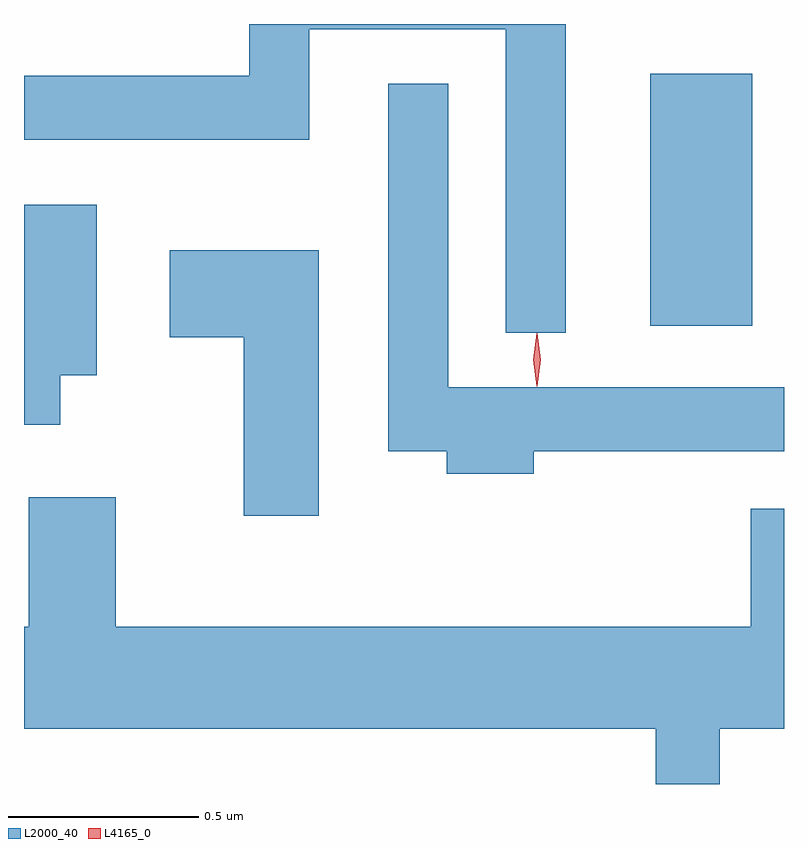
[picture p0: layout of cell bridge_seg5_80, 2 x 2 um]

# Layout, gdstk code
import gdstk
lib = gdstk.Library(unit=1e-6, precision=1e-09)
def R(c, l, rs):  # rectangles x0, y0, x1, y1
    for r in rs: c.add(gdstk.rectangle(r[:2], r[2:], *l))
def P(c, l, *ps):  # polygons
    for p in ps: c.add(gdstk.Polygon(p, *l))
L2000_40 = (2000, 40)
L4165_0 = (4165, 0)

bridge_seg5_80 = lib.new_cell('bridge_seg5_80')
R(bridge_seg5_80, L2000_40, [(1217.216,1477.836,1217.484,1478.499)])
P(bridge_seg5_80, L2000_40, [(1216.994,1478.63),(1216.161,1478.63),(1216.161,1478.494),(1215.568,1478.494),(1215.568,1478.326),(1216.319,1478.326),(1216.319,1478.616),(1216.836,1478.616),(1216.836,1477.818),(1216.994,1477.818)],
  [(1216.909,1477.506),(1217.568,1477.506),(1217.568,1477.674),(1216.684,1477.674),(1216.684,1478.473),(1216.526,1478.473),(1216.526,1477.506),(1216.681,1477.506),(1216.681,1477.446),(1216.909,1477.446)],
  [(1215.664,1477.706),(1215.759,1477.706),(1215.759,1478.154),(1215.568,1478.154),(1215.568,1477.576),(1215.664,1477.576)],
  [(1216.344,1478.034),(1215.951,1478.034),(1215.951,1477.806),(1216.146,1477.806),(1216.146,1477.336),(1216.344,1477.336)],
  [(1217.399,1476.776),(1217.568,1476.776),(1217.568,1477.354),(1217.481,1477.354),(1217.481,1477.044),(1215.809,1477.044),(1215.809,1477.384),(1215.581,1477.384),(1215.581,1477.044),(1215.568,1477.044),(1215.568,1476.776),(1217.231,1476.776),(1217.231,1476.63),(1217.399,1476.63)])
P(bridge_seg5_80, L4165_0, [(1216.917,1477.679),(1216.917,1477.68),(1216.908,1477.746),(1216.917,1477.812),(1216.917,1477.813),(1216.918,1477.812),(1216.927,1477.746),(1216.918,1477.68)],
  [(1216.917,1477.677),(1216.908,1477.747),(1216.917,1477.816),(1216.918,1477.816),(1216.918,1477.816),(1216.928,1477.747),(1216.918,1477.677),(1216.918,1477.677)])

lib.write_gds('bridge_seg5_80.gds')
